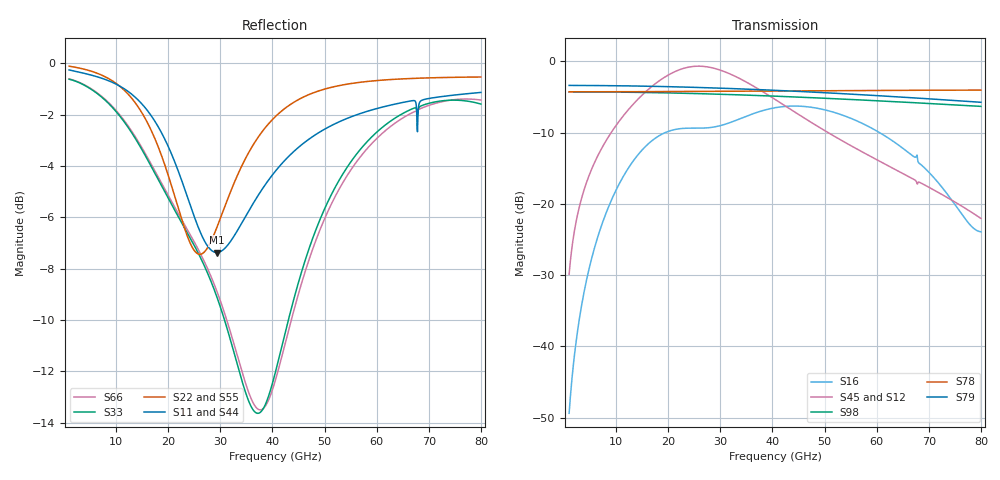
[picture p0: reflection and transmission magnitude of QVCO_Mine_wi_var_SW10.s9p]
! Touchstone Ver. 1.0
! Number of ports is 9
# Hz	S	RI	R	50.000000
! SCATTERING PARAMETERS  :
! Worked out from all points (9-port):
!   1001 points, 1 GHz to 80 GHz, reference 50 ohm
!   strongest paths, dB at 1 GHz, 20.75 GHz, 40.5 GHz, 60.25 GHz, 80 GHz:
!     S79: -3.4, -3.6, -4.1, -4.8, -5.8
!     S78: -4.3, -4.2, -4.2, -4.1, -4.0
!     S98: -4.3, -4.4, -4.9, -5.5, -6.3
!     S45: -29.9, -1.6, -5.3, -13.9, -22.0
!     S12: -29.9, -1.7, -5.4, -14.0, -22.0
!     S16: -49.4, -9.7, -6.5, -9.9, -23.9
!   lowest |S11| = -7.4 dB at 29.36 GHz (marker M1), VSWR 2.50, Z = 65.6 + j52 ohm
!   |S11| at or under -10 dB: nowhere
